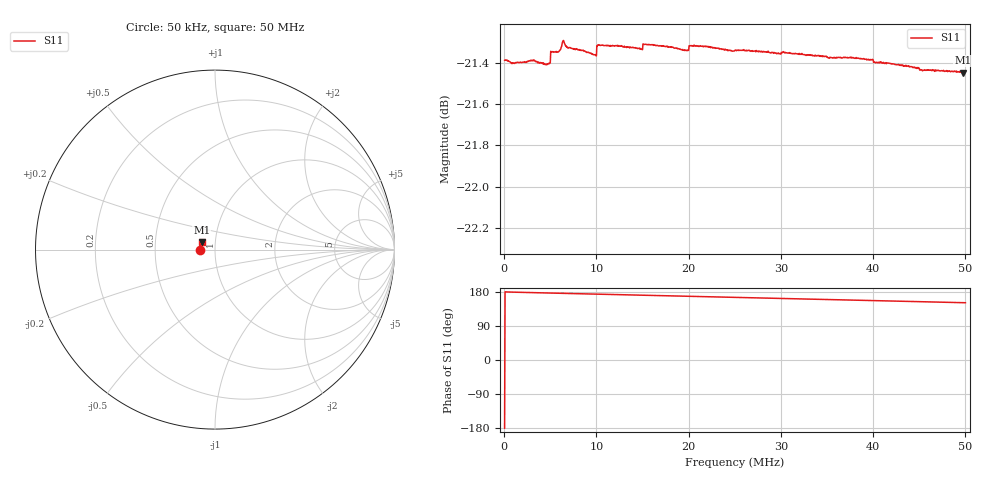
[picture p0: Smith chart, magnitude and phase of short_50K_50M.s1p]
# HZ S RI R 50
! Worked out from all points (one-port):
!   1010 points, 50 kHz to 50 MHz, reference 50 ohm
!   lowest |S11| = -21.4 dB at 49.7 MHz (marker M1), VSWR 1.19, Z = 43 + j3.52 ohm
!   |S11| at or under -10 dB: start of sweep to end of sweep
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50000  -0.0853 -0.000126
990576  -0.0851 0.00136
3069744  -0.0852 0.00327
4703376  -0.0849 0.00466
5297424  -0.0855 0.00521
5891472  -0.0855 0.0057
6337008  -0.0859 0.00588
6535024  -0.0858 0.00624
7030064  -0.0856 0.00671
9752784  -0.085 0.009
1.029733e7  -0.0854 0.00954
1.257451e7  -0.0852 0.0115
1.475269e7  -0.0848 0.0133
1.529723e7  -0.0849 0.0138
1.881202e7  -0.0842 0.0167
1.975259e7  -0.0839 0.0174
2.029714e7  -0.0841 0.0179
2.074267e7  -0.084 0.0183
2.504952e7  -0.0829 0.0218
3.128702e7  -0.0813 0.0269
3.539586e7  -0.0799 0.0301
3.752453e7  -0.0793 0.0317
3.975221e7  -0.0784 0.0335
4.029675e7  -0.0781 0.0338
4.376203e7  -0.0768 0.0364
4.529666e7  -0.076 0.0375
4.970251e7  -0.0742 0.0407
4.999954e7  -0.0742 0.0409
